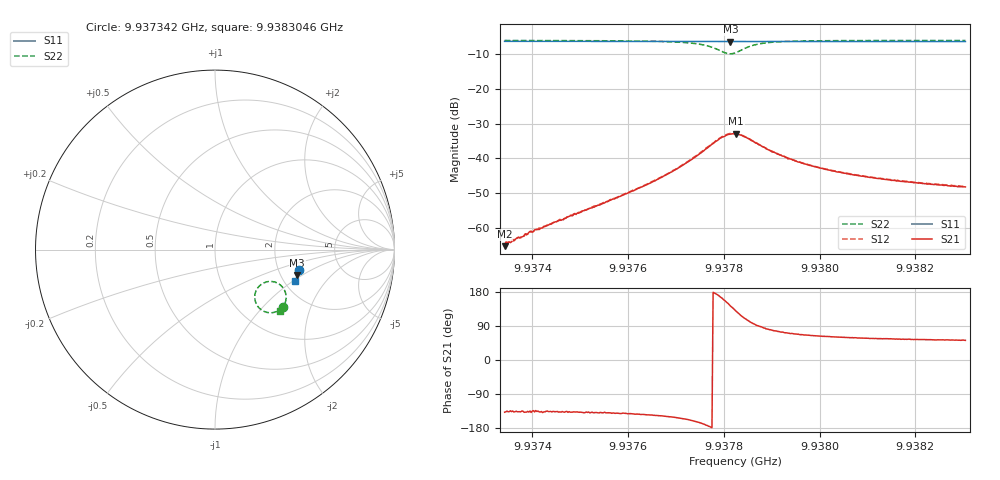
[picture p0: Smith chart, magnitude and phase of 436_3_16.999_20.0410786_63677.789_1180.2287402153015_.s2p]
#  HZ  S  RI  R  50.00
! Rohde & Schwarz Vector Network Analyzer
! Rohde-Schwarz,ZNB20-2Port,1311601062101988,3.16
! Created: UTC 3/20/2024, 11:11:40 PM
! freq[Hz]  re:S11  im:S11  re:S21  im:S21  re:S12  im:S12  re:S22  im:S22
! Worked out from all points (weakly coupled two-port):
!   401 points, 9.937342 GHz to 9.9383046 GHz, reference 50 ohm
!   highest |S21| = -32.92 dB at 9.9378258 GHz (marker M1); lowest = -65.3 dB at 9.937342 GHz (marker M2)
!   lowest |S11| = -6.4 dB at 9.9378137 GHz (marker M3), VSWR 2.84, Z = 123 - j44.9 ohm
!   |S11| at or under -10 dB: nowhere
!   |S22| runs from -9.9 to -6.1 dB; largest |S21 - S12| = 0.00097
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9.93734204e9  0.4703 -0.1112  -0.000402 -0.000364  -0.000412 -0.000402  0.3815 -0.3195
9.9373637e9  0.4698 -0.1127  -0.000488 -0.000462  -0.000495 -0.000459  0.3798 -0.3213
9.93737814e9  0.4695 -0.1137  -0.000516 -0.000526  -0.000517 -0.000514  0.3787 -0.3222
9.9373998e9  0.4693 -0.1151  -0.00061 -0.000615  -0.000636 -0.000592  0.3767 -0.3239
9.93750328e9  0.4671 -0.122  -0.00126 -0.00114  -0.0013 -0.00116  0.3662 -0.3324
9.93758751e9  0.465 -0.1277  -0.00225 -0.00185  -0.00232 -0.00183  0.3535 -0.3404
9.93766451e9  0.4631 -0.1328  -0.00427 -0.00277  -0.00439 -0.00278  0.3327 -0.349
9.93771024e9  0.4616 -0.136  -0.00686 -0.00335  -0.00704 -0.00333  0.3092 -0.3522
9.93776078e9  0.4598 -0.1393  -0.0132 -0.00218  -0.0134 -0.00213  0.2584 -0.3362
9.93777762e9  0.4588 -0.1403  -0.0163 0.000391  -0.0166 0.000511  0.236 -0.3129
9.93779447e9  0.4581 -0.1406  -0.0191 0.00519  -0.0193 0.00584  0.2216 -0.2699
9.93781372e9  0.4575 -0.141  -0.0178 0.0136  -0.0178 0.0142  0.2427 -0.2075
9.93782334e9  0.4578 -0.1412  -0.0148 0.0169  -0.0145 0.0176  0.2712 -0.1858
9.93782575e9  0.4576 -0.1413  -0.0141 0.0177  -0.0136 0.0181  0.2793 -0.1826
9.93785222e9  0.458 -0.1426  -0.00412 0.0187  -0.00375 0.0187  0.3562 -0.1915
9.9378811e9  0.4581 -0.1447  0.00106 0.0146  0.00144 0.0147  0.3892 -0.2309
9.93789795e9  0.4578 -0.146  0.00225 0.0125  0.00257 0.0126  0.395 -0.2493
9.93793405e9  0.4572 -0.1487  0.00318 0.00926  0.00358 0.00943  0.3956 -0.2767
9.93798458e9  0.456 -0.1524  0.00333 0.00698  0.0035 0.00701  0.3903 -0.2981
9.93807122e9  0.4537 -0.158  0.003 0.00491  0.00314 0.00494  0.3804 -0.3176
9.93814582e9  0.4517 -0.163  0.00274 0.00405  0.00288 0.00403  0.3731 -0.3278
9.93830465e9  0.4473 -0.1731  0.00239 0.00304  0.00246 0.00303  0.3609 -0.3418
